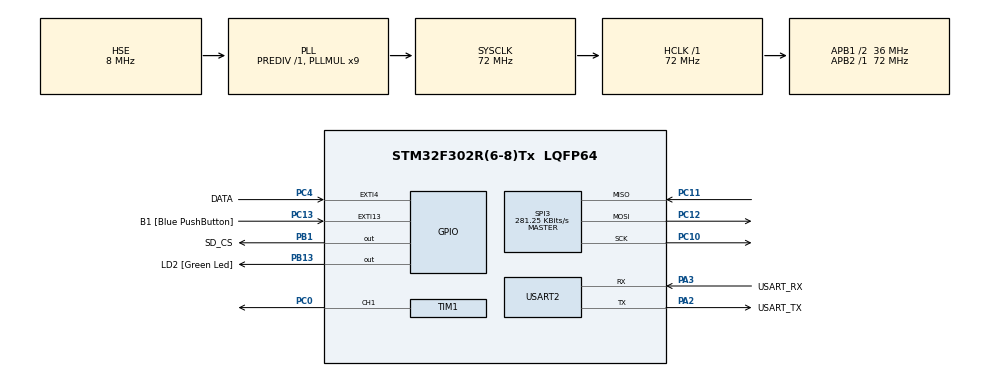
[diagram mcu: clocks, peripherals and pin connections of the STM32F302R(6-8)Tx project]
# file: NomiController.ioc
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Dma.Request0=TIM1_CH1
Dma.TIM1_CH1.0.Direction=DMA_MEMORY_TO_PERIPH
Dma.TIM1_CH1.0.Instance=DMA1_Channel2
Dma.TIM1_CH1.0.MemDataAlignment=DMA_MDATAALIGN_HALFWORD
Dma.TIM1_CH1.0.MemInc=DMA_MINC_ENABLE
Dma.TIM1_CH1.0.Mode=DMA_NORMAL
Dma.TIM1_CH1.0.PeriphDataAlignment=DMA_PDATAALIGN_HALFWORD
Dma.TIM1_CH1.0.PeriphInc=DMA_PINC_DISABLE
Dma.TIM1_CH1.0.Priority=DMA_PRIORITY_LOW
Mcu.Family=STM32F3
Mcu.Name=STM32F302R(6-8)Tx
Mcu.Package=LQFP64
NVIC.DMA1_Channel2_IRQn=true\:0\:0\:false\:false\:true\:false\:true\:true
NVIC.PriorityGroup=NVIC_PRIORITYGROUP_0
PA13.GPIO_Label=TMS
PA13.Mode=Serial_Wire
PA13.Signal=SYS_JTMS-SWDIO
PA14.GPIO_Label=TCK
PA14.Mode=Serial_Wire
PA14.Signal=SYS_JTCK-SWCLK
PA2.GPIO_Label=USART_TX
PA2.GPIO_Mode=GPIO_MODE_AF_PP
PA2.GPIO_PuPd=GPIO_NOPULL
PA2.GPIO_Speed=GPIO_SPEED_FREQ_LOW
PA2.Mode=Asynchronous
PA2.Signal=USART2_TX
PA3.GPIO_Label=USART_RX
PA3.GPIO_Mode=GPIO_MODE_AF_PP
PA3.GPIO_PuPd=GPIO_NOPULL
PA3.GPIO_Speed=GPIO_SPEED_FREQ_LOW
PA3.Mode=Asynchronous
PA3.Signal=USART2_RX
PB1.GPIO_Label=SD_CS
PB1.Signal=GPIO_Output
PB13.GPIO_Label=LD2 [Green Led]
PB13.Signal=GPIO_Output
PB3.GPIO_Label=SWO
PB3.Mode=Trace_Asynchronous_SW
PB3.Signal=SYS_JTDO-TRACESWO
PC0.Signal=S_TIM1_CH1
PC10.Mode=Full_Duplex_Master
PC10.Signal=SPI3_SCK
PC11.Mode=Full_Duplex_Master
PC11.Signal=SPI3_MISO
PC12.Mode=Full_Duplex_Master
PC12.Signal=SPI3_MOSI
PC13.GPIO_Label=B1 [Blue PushButton]
PC13.GPIO_ModeDefaultEXTI=GPIO_MODE_IT_FALLING
PC13.Signal=GPXTI13
PC14\ -\ OSC32_IN.Mode=LSE-External-Oscillator
PC14\ -\ OSC32_IN.Signal=RCC_OSC32_IN
PC15\ -\ OSC32_OUT.Mode=LSE-External-Oscillator
PC15\ -\ OSC32_OUT.Signal=RCC_OSC32_OUT
PC4.GPIO_Label=DATA
PC4.Signal=GPXTI4
PF0-OSC_IN.Mode=HSE-External-Clock-Source
PF0-OSC_IN.Signal=RCC_OSC_IN
PF1-OSC_OUT.Signal=RCC_OSC_OUT
ProjectManager.HeapSize=0x200
ProjectManager.StackSize=0x400
ProjectManager.TargetToolchain=STM32CubeIDE
RCC.AHBFreq_Value=72000000
RCC.APB1CLKDivider=RCC_HCLK_DIV2
RCC.APB1Freq_Value=36000000
RCC.APB1TimFreq_Value=72000000
RCC.APB2Freq_Value=72000000
RCC.APB2TimFreq_Value=72000000
RCC.CortexFreq_Value=72000000
RCC.HCLKFreq_Value=72000000
RCC.HSE_VALUE=8000000
RCC.HSI_VALUE=8000000
RCC.PLLM=8
RCC.PLLMUL=RCC_PLL_MUL9
RCC.PLLN=336
RCC.PLLP=RCC_PLLP_DIV4
RCC.PLLQ=7
RCC.PLLSourceVirtual=RCC_PLLSOURCE_HSE
RCC.SYSCLKFreq_VALUE=72000000
RCC.SYSCLKSourceVirtual=RCC_SYSCLKSOURCE_PLLCLK
RCC.USBFreq_Value=72000000
SH.S_TIM1_CH1.0=TIM1_CH1,PWM Generation1 CH1
SPI3.BaudRatePrescaler=SPI_BAUDRATEPRESCALER_128
SPI3.CalculateBaudRate=281.25 KBits/s
SPI3.DataSize=SPI_DATASIZE_8BIT
SPI3.Direction=SPI_DIRECTION_2LINES
SPI3.Mode=SPI_MODE_MASTER
SPI3.VirtualType=VM_MASTER
TIM1.Channel-PWM\ Generation1\ CH1=TIM_CHANNEL_1
TIM1.Period=72-1
TIM1.Prescaler=0
USART2.VirtualMode-Asynchronous=VM_ASYNC
VP_FATFS_VS_Generic.Mode=User_defined
VP_TIM1_VS_ClockSourceINT.Mode=Internal
board=NUCLEO-F302R8

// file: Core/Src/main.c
/* USER CODE BEGIN Header */
/**
  ******************************************************************************
  * @file           : main.c
  * @brief          : Main program body
  ******************************************************************************
  * @attention
  *
  * Copyright (c) 2024 STMicroelectronics.
  * All rights reserved.
  *
  * This software is licensed under terms that can be found in the LICENSE file
  * in the root directory of this software component.
  * If no LICENSE file comes with this software, it is provided AS-IS.
  *
  ******************************************************************************
  */
/* USER CODE END Header */
#include "main.h"
#include "fatfs.h"

/* USER CODE BEGIN Includes */

#include "math.h"

#include <stdio.h>
#include <string.h>
#include <stdarg.h>

/* USER CODE END Includes */

/* USER CODE BEGIN PTD */

typedef struct
{
	int8_t r;
	int8_t g;
	int8_t b;
} COLOUR;

/* USER CODE END PTD */

/* USER CODE BEGIN PD */
	#define MAX_LED 200

/* USER CODE END PD */

SPI_HandleTypeDef hspi3;

TIM_HandleTypeDef htim1;
DMA_HandleTypeDef hdma_tim1_ch1;

UART_HandleTypeDef huart2;

/* USER CODE BEGIN PV */

COLOUR rainbow[6] = {};
COLOUR activeRainbow[MAX_LED/10];
int state = 0;

/* USER CODE END PV */

void SystemClock_Config(void);
static void MX_GPIO_Init(void);
static void MX_DMA_Init(void);
static void MX_USART2_UART_Init(void);
static void MX_TIM1_Init(void);
static void MX_SPI3_Init(void);
/* USER CODE BEGIN PFP */

void Set_LED (int LEDnum, int8_t Red, int8_t Green, int8_t Blue);
void Set_LED_struct(int LEDnum, COLOUR colour);
void Set_Brightness (int8_t brightness);
void WS2812_Send (void);
void Shift(void);
void shiftActive(void);
void HAL_TIM_PWM_PulseFinishedCallback(TIM_HandleTypeDef *htim);

void myprintf(const char *fmt, ...);

/* USER CODE END PFP */

/* USER CODE BEGIN 0 */
	#define USE_BRIGHTNESS 1

	uint16_t pwmData[(24*MAX_LED)+50];

	int datasentflag = 0;

	uint8_t LED_Data[MAX_LED][4];
	uint8_t LED_Mod[MAX_LED][4];  // for brightness

	void Set_LED_struct(int LEDnum, COLOUR colour)
	{
		Set_LED(LEDnum, colour.r, colour.g, colour.b);
	}

	void Set_LED (int LEDnum, int8_t Red, int8_t Green, int8_t Blue)
		{
			LED_Data[LEDnum][0] = LEDnum;
			LED_Data[LEDnum][1] = Green;
			LED_Data[LEDnum][2] = Red;
			LED_Data[LEDnum][3] = Blue;
		}

		#define PI 3.14159265

		void Set_Brightness (int8_t brightness)  // 0-45
		{
		#if USE_BRIGHTNESS

			if (brightness > 45) brightness = 45;
			for (int i=0; i<MAX_LED; i++)
			{
				LED_Mod[i][0] = LED_Data[i][0];
				for (int j=1; j<4; j++)
				{
					float angle = 90-brightness;  // in degrees
					angle = angle*PI / 180;  // in rad
					LED_Mod[i][j] = (LED_Data[i][j])/(tan(angle));
				}
			}

		#endif

		}

		void WS2812_Send (void)
		{
			uint32_t indx=0;
			uint32_t color;

			for (int i= 0; i<MAX_LED; i++)
			{
		#if USE_BRIGHTNESS
				color = ((LED_Mod[i][1]<<16) | (LED_Mod[i][2]<<8) | (LED_Mod[i][3]));
		#else
				color = ((LED_Data[i][1]<<16) | (LED_Data[i][2]<<8) | (LED_Data[i][3]));
		#endif

				for (int i=23; i>=0; i--)
				{
					if (color&(1<<i))
					{
						pwmData[indx] = 60;  // 2/3 of 90
					}

					else pwmData[indx] = 30;  // 1/3 of 90

					indx++;
				}

			}

			for (int i=0; i<50; i++)
			{
				pwmData[indx] = 0;
				indx++;
			}

			HAL_TIM_PWM_Start_DMA(&htim1, TIM_CHANNEL_1, (uint32_t *)pwmData, indx);
			while (!datasentflag){};
			datasentflag = 0;
		}

		void HAL_TIM_PWM_PulseFinishedCallback(TIM_HandleTypeDef *htim)
		{
			HAL_TIM_PWM_Stop_DMA(&htim1, TIM_CHANNEL_1);
			datasentflag=1;
		}

		void Shift(void)
		{
			COLOUR help;
			if(state == 6)
				state = 0;

			help = rainbow[0];
			for(int i = 0; i<5; i++)
			{
				rainbow[i] = rainbow[i+1];
			}
			rainbow[5] = help;

		}

		void shiftActive(void)
		{
			Shift();
			for(int i = 0; i<MAX_LED/10; i++)
			{
				activeRainbow[i] = rainbow[((i)<6)?i:(i)-6];
			}
		}

		void myprintf(const char *fmt, ...)
		{
		  static char buffer[256];
		  va_list args;
		  va_start(args, fmt);
		  vsnprintf(buffer, sizeof(buffer), fmt, args);
		  va_end(args);

		  int len = strlen(buffer);
		  HAL_UART_Transmit(&huart2, (uint8_t*)buffer, len, -1);

		}

/* USER CODE END 0 */

int main(void)
{

  /* MCU Configuration--------------------------------------------------------*/

  /* Reset of all peripherals, Initializes the Flash interface and the Systick. */
  HAL_Init();

  /* Configure the system clock */
  SystemClock_Config();

  /* Initialize all configured peripherals */
  MX_GPIO_Init();
  MX_DMA_Init();
  MX_USART2_UART_Init();
  MX_TIM1_Init();
  MX_SPI3_Init();
  MX_FATFS_Init();
  /* USER CODE BEGIN 2 */

  	  /*Set_LED(0, 255, 0, 0);
  	  Set_LED(1, 0, 255, 0);
  	  Set_LED(2, 0, 0, 255);

  	  Set_LED(3, 46, 89, 128);

  	  Set_LED(4, 156, 233, 100);
  	  Set_LED(5, 102, 0, 235);
  	  Set_LED(6, 47, 38, 77);
*/
  rainbow[0] = (COLOUR) {255, 0, 0};
  rainbow[1] = (COLOUR) {255, 140, 0};
  rainbow[2] = (COLOUR) {255, 255, 0};
  rainbow[3] = (COLOUR) {0, 255, 0};
  rainbow[4] = (COLOUR) {0, 0, 255};
  rainbow[5] = (COLOUR) {170, 0, 255};
  /*
  for (int i = 0; i<100; i++)
  {
	  if(i<10)
		  Set_LED(i, 255, 0, 0);
	  else if(i<20)
		  Set_LED(i, 255, 140, 0);
	  else if(i<30)
		  Set_LED(i, 255, 255, 0);
	  else if(i<40)
		  Set_LED(i, 0, 255, 0);
	  else if(i<50)
		  Set_LED(i, 0, 0, 255);
	  else if(i<60)
		  Set_LED(i, 170, 0, 255);
	  else if(i<70)
		  Set_LED(i, 0, 0, 255);
	  else if(i<80)
		  Set_LED(i, 0, 255, 0);
	  else if(i<90)
		  Set_LED(i, 255, 255, 0);
	  else
		  Set_LED(i, 255, 140, 0);
  }*/

  myprintf("\r\n~ This is an SD card test ~\r\n\r\n");

  HAL_Delay(1000);

  FATFS FatFs;
  FIL fil;
  FRESULT fres;

  fres = f_mount(&FatFs, "", 1);
  if (fres != FR_OK)
  {
	  myprintf("f_mount error (%i)\r\n", fres);
	  while(1);
  }

  fres = f_open(&fil, "file.txt", FA_READ);
    if (fres != FR_OK)
    {
    	myprintf("f_open error (%i)\r\n");
  		while(1);
    }
    myprintf("I was able to open 'file.txt' for reading!\r\n");

    BYTE readBuf[30];

    TCHAR* rres = f_gets((TCHAR*)readBuf, 30, &fil);
    if(rres != 0)
    {
    	myprintf("Read string from 'file.txt' contents: %s\r\n", readBuf);
    	  } else {
    		myprintf("f_gets error (%i)\r\n", fres);
    }

    f_close(&fil);

  /* USER CODE END 2 */

  /* Infinite loop */
  while (1)
  {

    /* USER CODE BEGIN 3 */
	  /*
	  for (int i=0; i<46; i++)
	  	  {
	  		  Set_Brightness(i);
	  		  WS2812_Send();
	  		  HAL_Delay (50);
	  	  }

	  for (int i=45; i>=0; i--)
	  {
		  Set_Brightness(i);
		  WS2812_Send();
		  HAL_Delay (50);
	  }
	  for(int i = 0; i<10; i++)
	  {
		  for(int j = 0; j<100; j++)
		  {
			  if(j/(i*10)==1 || (j<11 && i==1))
				  Set_LED_struct(j, rainbow[2]);
			  else
				  Set_LED_struct(j, rainbow[3]);
		  }
		  Set_Brightness(5);
		  WS2812_Send();
		  HAL_Delay (500);
	  }
	  */

	  for (int i = 0; i<MAX_LED; i++)
	    {
	  	  if(i<10)
	  		  Set_LED_struct(i, activeRainbow[0]);
	  	  else if(i<20)
	  		  Set_LED_struct(i, activeRainbow[1]);
	  	  else if(i<30)
	  		  Set_LED_struct(i, activeRainbow[2]);
	  	  else if(i<40)
	  		  Set_LED_struct(i, activeRainbow[3]);
	  	  else if(i<50)
	  		  Set_LED_struct(i, activeRainbow[4]);
	  	  else if(i<60)
	  		  Set_LED_struct(i, activeRainbow[5]);
	  	  else if(i<70)
	  		  Set_LED_struct(i, activeRainbow[6]);
	  	  else if(i<80)
	  		  Set_LED_struct(i, activeRainbow[7]);
	  	  else if(i<90)
	  		  Set_LED_struct(i, activeRainbow[8]);
	  	  else
	  		  Set_LED_struct(i, activeRainbow[9]);
	    }
	  Set_Brightness(5);
	  		  WS2812_Send();
	  		  HAL_Delay (100);
	  		  state++;
	  shiftActive();
  }
  /* USER CODE END 3 */
}

void SystemClock_Config(void)
{
  RCC_OscInitTypeDef RCC_OscInitStruct = {0};
  RCC_ClkInitTypeDef RCC_ClkInitStruct = {0};
  RCC_PeriphCLKInitTypeDef PeriphClkInit = {0};

  /** Initializes the RCC Oscillators according to the specified parameters
  * in the RCC_OscInitTypeDef structure.
  */
  RCC_OscInitStruct.OscillatorType = RCC_OSCILLATORTYPE_HSE;
  RCC_OscInitStruct.HSEState = RCC_HSE_BYPASS;
  RCC_OscInitStruct.HSEPredivValue = RCC_HSE_PREDIV_DIV1;
  RCC_OscInitStruct.HSIState = RCC_HSI_ON;
  RCC_OscInitStruct.PLL.PLLState = RCC_PLL_ON;
  RCC_OscInitStruct.PLL.PLLSource = RCC_PLLSOURCE_HSE;
  RCC_OscInitStruct.PLL.PLLMUL = RCC_PLL_MUL9;
  if (HAL_RCC_OscConfig(&RCC_OscInitStruct) != HAL_OK)
  {
    Error_Handler();
  }

  /** Initializes the CPU, AHB and APB buses clocks
  */
  RCC_ClkInitStruct.ClockType = RCC_CLOCKTYPE_HCLK|RCC_CLOCKTYPE_SYSCLK
                              |RCC_CLOCKTYPE_PCLK1|RCC_CLOCKTYPE_PCLK2;
  RCC_ClkInitStruct.SYSCLKSource = RCC_SYSCLKSOURCE_PLLCLK;
  RCC_ClkInitStruct.AHBCLKDivider = RCC_SYSCLK_DIV1;
  RCC_ClkInitStruct.APB1CLKDivider = RCC_HCLK_DIV2;
  RCC_ClkInitStruct.APB2CLKDivider = RCC_HCLK_DIV1;

  if (HAL_RCC_ClockConfig(&RCC_ClkInitStruct, FLASH_LATENCY_2) != HAL_OK)
  {
    Error_Handler();
  }
  PeriphClkInit.PeriphClockSelection = RCC_PERIPHCLK_TIM1;
  PeriphClkInit.Tim1ClockSelection = RCC_TIM1CLK_HCLK;
  if (HAL_RCCEx_PeriphCLKConfig(&PeriphClkInit) != HAL_OK)
  {
    Error_Handler();
  }
}

static void MX_SPI3_Init(void)
{

  /* SPI3 parameter configuration*/
  hspi3.Instance = SPI3;
  hspi3.Init.Mode = SPI_MODE_MASTER;
  hspi3.Init.Direction = SPI_DIRECTION_2LINES;
  hspi3.Init.DataSize = SPI_DATASIZE_8BIT;
  hspi3.Init.CLKPolarity = SPI_POLARITY_LOW;
  hspi3.Init.CLKPhase = SPI_PHASE_1EDGE;
  hspi3.Init.NSS = SPI_NSS_SOFT;
  hspi3.Init.BaudRatePrescaler = SPI_BAUDRATEPRESCALER_128;
  hspi3.Init.FirstBit = SPI_FIRSTBIT_MSB;
  hspi3.Init.TIMode = SPI_TIMODE_DISABLE;
  hspi3.Init.CRCCalculation = SPI_CRCCALCULATION_DISABLE;
  hspi3.Init.CRCPolynomial = 7;
  hspi3.Init.CRCLength = SPI_CRC_LENGTH_DATASIZE;
  hspi3.Init.NSSPMode = SPI_NSS_PULSE_ENABLE;
  if (HAL_SPI_Init(&hspi3) != HAL_OK)
  {
    Error_Handler();
  }

}

static void MX_TIM1_Init(void)
{

  TIM_ClockConfigTypeDef sClockSourceConfig = {0};
  TIM_MasterConfigTypeDef sMasterConfig = {0};
  TIM_OC_InitTypeDef sConfigOC = {0};
  TIM_BreakDeadTimeConfigTypeDef sBreakDeadTimeConfig = {0};

  htim1.Instance = TIM1;
  htim1.Init.Prescaler = 0;
  htim1.Init.CounterMode = TIM_COUNTERMODE_UP;
  htim1.Init.Period = 72-1;
  htim1.Init.ClockDivision = TIM_CLOCKDIVISION_DIV1;
  htim1.Init.RepetitionCounter = 0;
  htim1.Init.AutoReloadPreload = TIM_AUTORELOAD_PRELOAD_DISABLE;
  if (HAL_TIM_Base_Init(&htim1) != HAL_OK)
  {
    Error_Handler();
  }
  sClockSourceConfig.ClockSource = TIM_CLOCKSOURCE_INTERNAL;
  if (HAL_TIM_ConfigClockSource(&htim1, &sClockSourceConfig) != HAL_OK)
  {
    Error_Handler();
  }
  if (HAL_TIM_PWM_Init(&htim1) != HAL_OK)
  {
    Error_Handler();
  }
  sMasterConfig.MasterOutputTrigger = TIM_TRGO_RESET;
  sMasterConfig.MasterOutputTrigger2 = TIM_TRGO2_RESET;
  sMasterConfig.MasterSlaveMode = TIM_MASTERSLAVEMODE_DISABLE;
  if (HAL_TIMEx_MasterConfigSynchronization(&htim1, &sMasterConfig) != HAL_OK)
  {
    Error_Handler();
  }
  sConfigOC.OCMode = TIM_OCMODE_PWM1;
  sConfigOC.Pulse = 0;
  sConfigOC.OCPolarity = TIM_OCPOLARITY_HIGH;
  sConfigOC.OCNPolarity = TIM_OCNPOLARITY_HIGH;
  sConfigOC.OCFastMode = TIM_OCFAST_DISABLE;
  sConfigOC.OCIdleState = TIM_OCIDLESTATE_RESET;
  sConfigOC.OCNIdleState = TIM_OCNIDLESTATE_RESET;
  if (HAL_TIM_PWM_ConfigChannel(&htim1, &sConfigOC, TIM_CHANNEL_1) != HAL_OK)
  {
    Error_Handler();
  }
  sBreakDeadTimeConfig.OffStateRunMode = TIM_OSSR_DISABLE;
  sBreakDeadTimeConfig.OffStateIDLEMode = TIM_OSSI_DISABLE;
  sBreakDeadTimeConfig.LockLevel = TIM_LOCKLEVEL_OFF;
  sBreakDeadTimeConfig.DeadTime = 0;
  sBreakDeadTimeConfig.BreakState = TIM_BREAK_DISABLE;
  sBreakDeadTimeConfig.BreakPolarity = TIM_BREAKPOLARITY_HIGH;
  sBreakDeadTimeConfig.BreakFilter = 0;
  sBreakDeadTimeConfig.Break2State = TIM_BREAK2_DISABLE;
  sBreakDeadTimeConfig.Break2Polarity = TIM_BREAK2POLARITY_HIGH;
  sBreakDeadTimeConfig.Break2Filter = 0;
  sBreakDeadTimeConfig.AutomaticOutput = TIM_AUTOMATICOUTPUT_DISABLE;
  if (HAL_TIMEx_ConfigBreakDeadTime(&htim1, &sBreakDeadTimeConfig) != HAL_OK)
  {
    Error_Handler();
  }
  HAL_TIM_MspPostInit(&htim1);

}

static void MX_USART2_UART_Init(void)
{

  huart2.Instance = USART2;
  huart2.Init.BaudRate = 38400;
  huart2.Init.WordLength = UART_WORDLENGTH_8B;
  huart2.Init.StopBits = UART_STOPBITS_1;
  huart2.Init.Parity = UART_PARITY_NONE;
  huart2.Init.Mode = UART_MODE_TX_RX;
  huart2.Init.HwFlowCtl = UART_HWCONTROL_NONE;
  huart2.Init.OverSampling = UART_OVERSAMPLING_16;
  huart2.Init.OneBitSampling = UART_ONE_BIT_SAMPLE_DISABLE;
  huart2.AdvancedInit.AdvFeatureInit = UART_ADVFEATURE_NO_INIT;
  if (HAL_UART_Init(&huart2) != HAL_OK)
  {
    Error_Handler();
  }

}

static void MX_DMA_Init(void)
{

  /* DMA controller clock enable */
  __HAL_RCC_DMA1_CLK_ENABLE();

  /* DMA interrupt init */
  /* DMA1_Channel2_IRQn interrupt configuration */
  HAL_NVIC_SetPriority(DMA1_Channel2_IRQn, 0, 0);
  HAL_NVIC_EnableIRQ(DMA1_Channel2_IRQn);

}

static void MX_GPIO_Init(void)
{
  GPIO_InitTypeDef GPIO_InitStruct = {0};

  /* GPIO Ports Clock Enable */
  __HAL_RCC_GPIOC_CLK_ENABLE();
  __HAL_RCC_GPIOF_CLK_ENABLE();
  __HAL_RCC_GPIOA_CLK_ENABLE();
  __HAL_RCC_GPIOB_CLK_ENABLE();

  /*Configure GPIO pin Output Level */
  HAL_GPIO_WritePin(GPIOB, SD_CS_Pin|LD2_Pin, GPIO_PIN_RESET);

  /*Configure GPIO pin : B1_Pin */
  GPIO_InitStruct.Pin = B1_Pin;
  GPIO_InitStruct.Mode = GPIO_MODE_IT_FALLING;
  GPIO_InitStruct.Pull = GPIO_NOPULL;
  HAL_GPIO_Init(B1_GPIO_Port, &GPIO_InitStruct);

  /*Configure GPIO pin : DATA_Pin */
  GPIO_InitStruct.Pin = DATA_Pin;
  GPIO_InitStruct.Mode = GPIO_MODE_IT_RISING;
  GPIO_InitStruct.Pull = GPIO_NOPULL;
  HAL_GPIO_Init(DATA_GPIO_Port, &GPIO_InitStruct);

  /*Configure GPIO pins : SD_CS_Pin LD2_Pin */
  GPIO_InitStruct.Pin = SD_CS_Pin|LD2_Pin;
  GPIO_InitStruct.Mode = GPIO_MODE_OUTPUT_PP;
  GPIO_InitStruct.Pull = GPIO_NOPULL;
  GPIO_InitStruct.Speed = GPIO_SPEED_FREQ_LOW;
  HAL_GPIO_Init(GPIOB, &GPIO_InitStruct);

}

void Error_Handler(void)
{
  __disable_irq();
  while (1)
  {
  }
}
